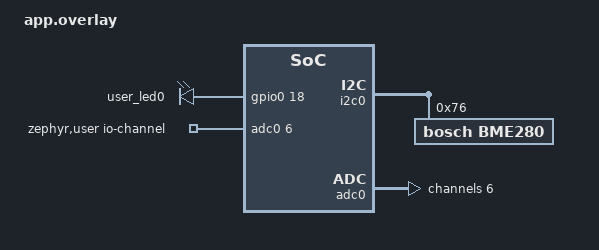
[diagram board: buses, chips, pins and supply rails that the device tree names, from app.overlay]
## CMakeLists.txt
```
cmake_minimum_required(VERSION 3.28.0)

find_package(Zephyr)
project(smart-plant)

target_include_directories(app PRIVATE include)

target_sources(app PRIVATE 
    src/main.c
    src/environment_sensor.c
    src/soil_sensor.c    
)
```

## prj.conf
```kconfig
CONFIG_GPIO=y
CONFIG_PRINTK=y
CONFIG_HEAP_MEM_POOL_SIZE=4096
CONFIG_ASSERT=y
CONFIG_ADC=y
CONFIG_I2C=y
CONFIG_SENSOR=y
CONFIG_BME280=y
```

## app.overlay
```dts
/ {
	aliases {
		led0 = &user_led0;
		environment-sensor = &bme280;
	};

	leds {
		compatible = "gpio-leds";

		user_led0: led_0 {
			   gpios = <&gpio0 18 GPIO_ACTIVE_HIGH>;
		};
	};

	zephyr,user {
		io-channels = <&adc0 6>;
	};
};

// I2C0 configuration
&i2c0 {
	status = "okay";

	     bme280: bme280@76 {
		compatible = "bosch,bme280";
		reg = <0x76>;
		status = "okay";
	};
};

&adc0{
	status = "okay";

	#address-cells = <1>;
	#size-cells = <0>;

	channel@6 {
		reg = <6>;

		zephyr,gain = "ADC_GAIN_1_4";
		zephyr,reference = "ADC_REF_INTERNAL";
		zephyr,acquisition-time = <ADC_ACQ_TIME_DEFAULT>;
		zephyr,resolution = <12>;
	};
};
```

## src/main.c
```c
#include <stdio.h>
#include <zephyr/kernel.h>
#include <zephyr/drivers/gpio.h>
#include <zephyr/sys/printk.h>
#include "measurements.h"

/* 1000 msec = 1 sec */
#define SENSOR_INTERVAL K_SECONDS(2)

#define STACKSIZE 1024
#define LED_THREAD_PRIORITY 7

// K_TIMER_DEFINE(led_timer, NULL, NULL);

/* The devicetree node identifier for the "led0" alias. */
// #define LED0_NODE DT_ALIAS(led0)

// static const struct gpio_dt_spec led = GPIO_DT_SPEC_GET(LED0_NODE, gpios);

// void led_thread(void)
// {
//     int ret;
//     bool led_state = true;

//     while (1) {
//         k_timer_status_sync(&led_timer);

//         ret = gpio_pin_toggle_dt(&led);
//         if (ret < 0) {
//             return; 
//         }

//         led_state = !led_state;
//         printf("LED state: %s\n", led_state ? "ON" : "OFF");
//     }
// }

// K_THREAD_DEFINE(led_thread_id, STACKSIZE, led_thread, NULL, NULL, NULL, LED_THREAD_PRIORITY, 0, 0);

int main(void)
{
    int env_status;
    int soil_status;
    int ret;

    plant_measurement_t measurements = {0};

    printk("\n");
    printk("========================\n");
    printk(" Smart Plant - Milestone 2\n");
    printk("========================\n");

    env_status = environment_sensor_init();
    if(env_status < 0)
    {
        printk("BME sensor initialisation failed: %d\n", env_status);
    }else{
        printk("BME280 initialized successfully\n");
    }

    /* Initialise the soil moisture sensor. */
    soil_status = soil_sensor_init();

    if (soil_status < 0) {
        printk("Soil ADC initialization failed: %d\n",
               soil_status);
    } else {
        printk("Soil ADC initialized successfully\n");
    }

    /* Do not enter the acquisition loop if setup failed. */
    if (env_status < 0 || soil_status < 0) {
        printk("Sensor setup failed. Check hardware.\n");
        return 0;
    }

    while(1)
    {
        printk("\n--- Sensor Measurement ---\n");

        env_status = environment_sensor_read(&measurements.environment);

        if(env_status == 0 && measurements.environment.valid)
        {
            int32_t temp_centi = (uint32_t)(measurements.environment.temperature_c *100);
            int32_t humidity_centi = (int32_t)(measurements.environment.humidity_per * 100.0);
            int32_t pressure_centi = (int32_t)(measurements.environment.pressure_kpa * 100.0);

            printk("Temperature x100: %d C\n", temp_centi);
            printk("Humidity x100:    %d %%RH\n", humidity_centi);
            printk("Pressure x100:    %d kPa\n",pressure_centi);
        } else {
            printk("Environmental sensor error: %d\n",env_status);
        }

        /* Obtain soil moisture measurements. */
        soil_status = soil_sensor_read(&measurements.soil);

        if (soil_status == 0 &&measurements.soil.valid) {

            printk("Soil ADC raw:      %d\n", measurements.soil.raw_adc);
            printk("Soil ADC filtered: %d\n",measurements.soil.filtered_adc);
            printk("Soil moisture:     %d %%\n", measurements.soil.moisture_percentage);

        } else {
            printk("Soil sensor error: %d\n",soil_status);
        }

        printk("Uptime: %lld ms\n", (long long)k_uptime_get());

        k_sleep(SENSOR_INTERVAL);

        
    }
    return 0;
}
```

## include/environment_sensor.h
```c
#ifndef ENVIRONMENT_SENSOR_H
#define ENVIRONMENT_SENSOR_H

#include <stdint.h>
#include <stdbool.h>

typedef struct {
    double temperature_c;
    double humidity_per;
    double pressure_kpa;
    int64_t timestamp; // Unix timestamp in milliseconds
    bool valid;
}environment_data_t;

int environment_sensor_init(void);
int environment_sensor_read(environment_data_t *data);

#endif // ENVIRONMENT_SENSOR_H
```

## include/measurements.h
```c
#ifndef MEASUREMENTS_H
#define MEASUREMENTS_H

#include "environment_sensor.h"
#include "soil_sensor.h"

typedef struct {
    environment_data_t environment;
    soil_sensor_data_t soil;
}plant_measurement_t;

#endif
```

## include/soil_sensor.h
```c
#ifndef SOIL_SENSOR_H
#define SOIL_SENSOR_H

#include <stdint.h>
#include <stdbool.h>

typedef struct {
    uint32_t raw_adc;
    uint32_t moisture_percentage;
    uint32_t filtered_adc;
    int64_t timestamp; // Unix timestamp in milliseconds
    bool valid;
}soil_sensor_data_t;

int soil_sensor_init(void);
int soil_sensor_read(soil_sensor_data_t *data);
int soil_sensor_calibrate(uint32_t dry_adc, uint32_t wet_adc);

#endif // SOIL_SENSOR_H
```

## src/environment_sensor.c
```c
#include "environment_sensor.h"
#include <zephyr/kernel.h>
#include <zephyr/device.h>
#include <zephyr/drivers/sensor.h>
#include <zephyr/drivers/sensor_data_types.h>
#include <stdint.h>
#include <stdbool.h>
#include <math.h>

#define BME280_NODE DT_ALIAS(environment_sensor)

// get the device structure from the device tree
static const struct device *bme_dev = DEVICE_DT_GET(BME280_NODE);

#if !DT_NODE_EXISTS(BME280_NODE)
#error "Environmental sensor alias is missing"
#endif

int environment_sensor_init(void) {
    if (!device_is_ready(bme_dev)) {
        return -ENODEV;
    }
    return 0;
}

int environment_sensor_read(environment_data_t *data) {

    struct sensor_value temperature, humidity, pressure;
    int ret;

    if (!device_is_ready(bme_dev)) {
        return -ENODEV;
    }
    
    ret = sensor_sample_fetch(bme_dev);
    if (ret < 0) {
        return ret;
    }

    ret = sensor_channel_get(bme_dev, SENSOR_CHAN_AMBIENT_TEMP, &temperature);
    if (ret < 0) {
        return ret;
    }

    ret = sensor_channel_get(bme_dev, SENSOR_CHAN_HUMIDITY, &humidity);
    if (ret < 0) {
        return ret;
    }

    ret = sensor_channel_get(bme_dev, SENSOR_CHAN_PRESS, &pressure);
    if (ret < 0) {
        return ret;
    }

    data->temperature_c = sensor_value_to_double(&temperature);
    data->humidity_per = sensor_value_to_double(&humidity);
    data->pressure_kpa = sensor_value_to_double(&pressure);

    if(!isfinite(data->temperature_c) || !isfinite(data->humidity_per) ||
         !isfinite(data->pressure_kpa) || data->temperature_c < -40 || 
        data->temperature_c > 85 || data->humidity_per < 0 || data->humidity_per > 100 ||
        data->pressure_kpa < 30 || data->pressure_kpa > 110) {
            return -ERANGE;
    }

    data->timestamp = k_uptime_get();
    data->valid = true;

    return 0;
}
```

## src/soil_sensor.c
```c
#include "soil_sensor.h"
#include <zephyr/kernel.h>
#include <zephyr/device.h>
#include <zephyr/drivers/adc.h>
#include <stdint.h>

// ADC channel described in app.overlay file
#define ADC_NODE DT_PATH(zephyr_user)

// number of samples in each measurement batch
#define SAMPLE_COUNT 8

// smoothing factor for the exponential moving average filter
#define FILTER_ALPHA 4

static int32_t filtered_value =0;
static bool filter_initialized = false;

uint32_t calibration_dry = 3000;
uint32_t calibration_wet = 1500;

static const struct adc_dt_spec soil_adc = ADC_DT_SPEC_GET_BY_IDX(ADC_NODE, 0);

void soil_sensor_set_calibration(uint32_t dry_raw, uint32_t wet_raw) {
    
    if(dry_raw < 0 || dry_raw > 4095 ||
        wet_raw < 0 || wet_raw > 4095 || dry_raw == wet_raw){
            return;
    }

    calibration_dry = dry_raw;
    calibration_wet = wet_raw;

    filter_initialized = false;
}

static int32_t moisture_from_raw(int32_t raw)
{
    int32_t numerator =
        (raw - calibration_dry) * 100;

    int32_t denominator =
        calibration_wet - calibration_dry;

    int32_t percent = numerator / denominator;

    if (percent < 0) {
        percent = 0;
    }

    if (percent > 100) {
        percent = 100;
    }

    return percent;
}
int soil_sensor_init(void) {

    int ret;

    if (!adc_is_ready_dt(&soil_adc)) {
    return -ENODEV;
    }

    ret = adc_channel_setup_dt(&soil_adc);
    if (ret < 0) {
        return ret;
    }

    return 0;
}

int soil_sensor_read(soil_sensor_data_t *data) {

    int ret;
    uint32_t sum = 0;

    if(data == NULL){
        return -EINVAL;
    }

    data->valid = false; // Mark data as invalid initially
 
    if (!adc_is_ready_dt(&soil_adc)) {
    return -ENODEV;
    }

    for(int i = 0; i < SAMPLE_COUNT; i++){

        int16_t sample;
        

        struct adc_sequence sequence = {
            .buffer = &sample,
            .buffer_size = sizeof(sample)
        };
    
        ret = adc_sequence_init_dt(&soil_adc, &sequence);

        if (ret < 0) {
            printk("ADC sequence initialization failed: %d\n", ret);
            return ret;
        }

        ret = adc_read_dt(&soil_adc, &sequence);

        if (ret < 0) {
            printk("ADC read failed: %d\n", ret);
            return ret;
        }

        /* Print the actual ADC result. */
        // printk("ADC DEBUG: sample = %d\n", sample);

        if (sample < 0 || sample > 4095) {
            printk("ADC value out of range: %d\n", sample);
            return -ERANGE;
        }

        sum += sample;
    }

    int32_t raw = sum / SAMPLE_COUNT;

    if(!filter_initialized){
        filtered_value = raw;
        filter_initialized = true;
    }else{
        filtered_value += (raw - filtered_value)/FILTER_ALPHA;
    }

    data->filtered_adc = filtered_value;
    printk("adc filtered value: %d\n", filtered_value);
    data->moisture_percentage = moisture_from_raw(filtered_value);
    data->raw_adc = raw;
    data->timestamp = k_uptime_get(); // Get the current time in milliseconds
    data->valid = true;

    return 0;
}
```
